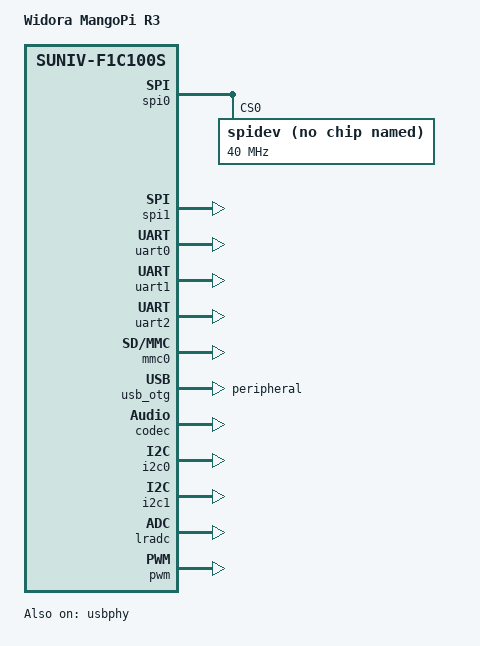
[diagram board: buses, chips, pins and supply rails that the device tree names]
// SPDX-License-Identifier: (GPL-2.0+ OR X11)

/dts-v1/;
#include "suniv-f1c100s.dtsi"

/ {
	model = "Widora MangoPi R3";
	compatible = "allwinner,suniv-f1c200s",
			 "allwinner,suniv-f1c100s";

	aliases {
		serial0 = &uart1;
		serial1 = &uart0;
		serial2 = &uart2;
		spi0 = &spi0;
		spi1 = &spi1;
	};

	chosen {
		#address-cells = <1>;
		#size-cells = <1>;
		ranges;

		stdout-path = "serial0:115200n8";

	};

};

&spi0 {
	status = "okay";
	spidev@0 {
			compatible = "spidev";
			reg = <0>;
			spi-max-frequency = <40000000>;
	};
};

&spi1 {
	status = "okay";
};


&uart0 {
	pinctrl-names = "default";
	pinctrl-0 = <&uart0_pe_pins>;
    status = "okay";
};

&uart1 {
	pinctrl-names = "default";
	pinctrl-0 = <&uart1_pa_pins>;
	status = "okay";
};

&uart2 {
	pinctrl-names = "default";
	pinctrl-0 = <&uart2_pd_pins>;
	status = "okay";
};

&mmc0 {
	status = "okay";
	broken-cd;
};

&otg_sram {
	status = "okay";
};

&usb_otg {
	dr_mode = "peripheral"; /* host peripheral */
	status = "okay";
};

&usbphy {
	status = "okay";
};


&codec {
	allwinner,audio-routing =
		"Headphone", "HP",
		"Headphone", "HPCOM",
		"LINEIN", "Line In",
		"FMINL", "Left FM In",
		"FMINR", "Right FM In",
		"MIC", "Mic";
	status = "okay";
};

&i2c0 {
	pinctrl-names = "default";
	pinctrl-0 = <&i2c0_pd_pins>;
	status = "okay";
};

&i2c1 {
	pinctrl-names = "default";
	pinctrl-0 = <&i2c1_pd_pins>;
	status = "okay";
};

&lradc {
	status = "okay";
};

&pwm {
	status = "okay";
};
